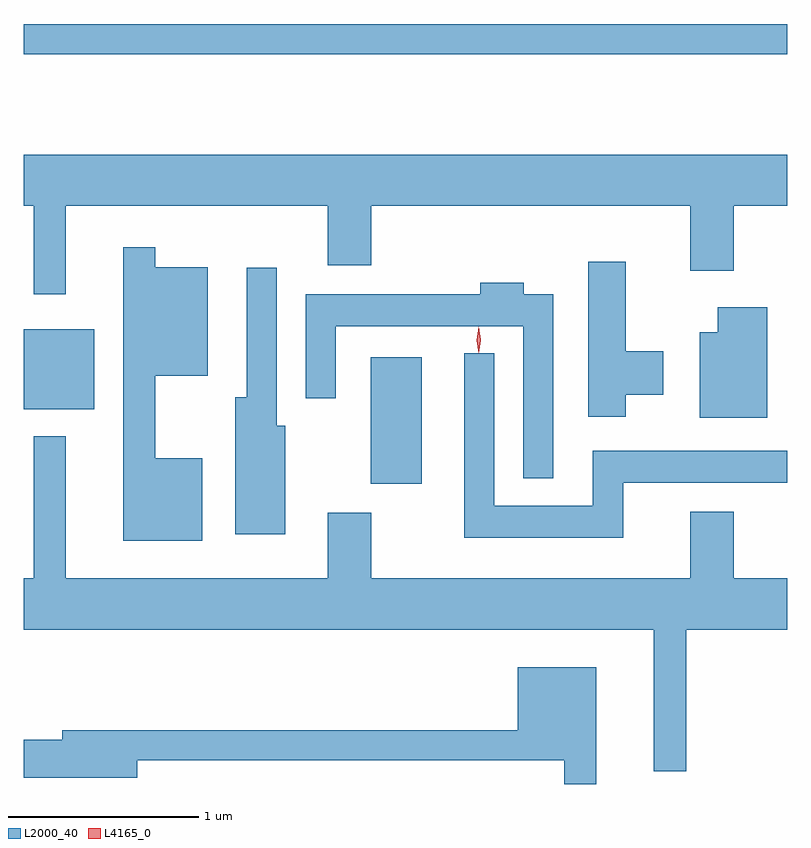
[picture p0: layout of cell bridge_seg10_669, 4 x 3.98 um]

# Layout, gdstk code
import gdstk
lib = gdstk.Library(unit=1e-6, precision=1e-09)
def R(c, l, rs):  # rectangles x0, y0, x1, y1
    for r in rs: c.add(gdstk.rectangle(r[:2], r[2:], *l))
def P(c, l, *ps):  # polygons
    for p in ps: c.add(gdstk.Polygon(p, *l))
L2000_40 = (2000, 40)
L4165_0 = (4165, 0)

bridge_seg10_669 = lib.new_cell('bridge_seg10_669')
R(bridge_seg10_669, L2000_40, [(957.856,2101.361,958.124,2102.024), (956.039,2103.611,960.039,2103.769)])
P(bridge_seg10_669, L2000_40, [(956.259,2102.816),(957.631,2102.816),(957.631,2102.506),(957.859,2102.506),(957.859,2102.816),(959.531,2102.816),(959.531,2102.476),(959.759,2102.476),(959.759,2102.816),(960.039,2102.816),(960.039,2103.084),(956.039,2103.084),(956.039,2102.816),(956.091,2102.816),(956.091,2102.353),(956.259,2102.353)],
  [(956.974,2101.494),(956.729,2101.494),(956.729,2101.926),(957.004,2101.926),(957.004,2102.494),(956.729,2102.494),(956.729,2102.598),(956.561,2102.598),(956.561,2101.061),(956.974,2101.061)],
  [(959.194,2101.826),(959.389,2101.826),(959.389,2102.054),(959.194,2102.054),(959.194,2102.524),(958.996,2102.524),(958.996,2101.711),(959.194,2101.711)],
  [(957.409,2101.664),(957.364,2101.664),(957.364,2102.493),(957.206,2102.493),(957.206,2101.814),(957.146,2101.814),(957.146,2101.096),(957.409,2101.096)],
  [(958.814,2102.354),(958.659,2102.354),(958.659,2102.414),(958.431,2102.414),(958.431,2102.354),(957.516,2102.354),(957.516,2101.808),(957.674,2101.808),(957.674,2102.186),(958.656,2102.186),(958.656,2101.388),(958.814,2101.388)],
  [(959.934,2102.284),(959.676,2102.284),(959.676,2102.154),(959.581,2102.154),(959.581,2101.706),(959.934,2101.706)],
  [(956.409,2102.169),(956.039,2102.169),(956.039,2101.761),(956.04,2101.761),(956.04,2101.751),(956.409,2101.751)],
  [(959.179,2101.366),(960.039,2101.366),(960.039,2101.534),(959.021,2101.534),(959.021,2101.244),(958.504,2101.244),(958.504,2102.043),(958.346,2102.043),(958.346,2101.076),(959.179,2101.076)],
  [(959.509,2100.596),(960.039,2100.596),(960.039,2100.864),(959.759,2100.864),(959.759,2101.214),(959.531,2101.214),(959.531,2100.864),(957.859,2100.864),(957.859,2101.209),(957.631,2101.209),(957.631,2100.864),(956.259,2100.864),(956.259,2101.608),(956.091,2101.608),(956.091,2100.864),(956.039,2100.864),(956.039,2100.596),(959.341,2100.596),(959.341,2099.853),(959.509,2099.853)],
  [(959.039,2100.399),(958.626,2100.399),(958.626,2100.069),(956.241,2100.069),(956.241,2100.019),(956.039,2100.019),(956.039,2099.821),(956.634,2099.821),(956.634,2099.911),(958.871,2099.911),(958.871,2099.787),(959.039,2099.787)])
P(bridge_seg10_669, L4165_0, [(958.422,2102.044),(958.422,2102.044),(958.412,2102.113),(958.422,2102.182),(958.422,2102.183),(958.423,2102.182),(958.432,2102.113),(958.423,2102.044)],
  [(958.424,2102.047),(958.423,2102.048),(958.414,2102.114),(958.423,2102.18),(958.424,2102.181),(958.424,2102.18),(958.434,2102.114),(958.424,2102.048)])

lib.write_gds('bridge_seg10_669.gds')
